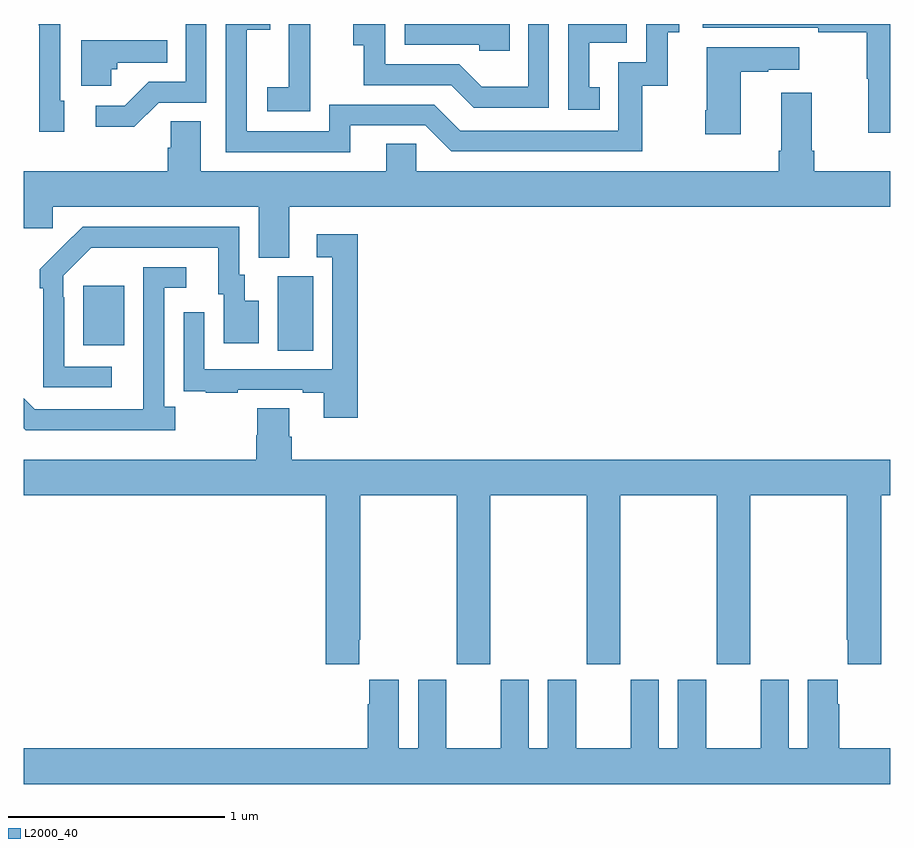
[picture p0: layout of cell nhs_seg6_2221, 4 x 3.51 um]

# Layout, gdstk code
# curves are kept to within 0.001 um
import gdstk
lib = gdstk.Library(unit=1e-6, precision=1e-09)
def R(c, l, rs):  # rectangles x0, y0, x1, y1
    for r in rs: c.add(gdstk.rectangle(r[:2], r[2:], *l))
def P(c, l, *ps):  # polygons
    for p in ps: c.add(gdstk.Polygon(p, *l))
L2000_40 = (2000, 40)

nhs_seg6_2221 = lib.new_cell('nhs_seg6_2221')
R(nhs_seg6_2221, L2000_40, [(244.172,959.992,244.336,960.336), (243.275,960.017,243.463,960.292)])
P(nhs_seg6_2221, L2000_40, [(244.507,961.032),(244.854,961.032),(244.974,960.912),(245.854,960.912),(245.854,961.215),(245.972,961.215),(245.972,961.461),(246.025,961.461),(246.025,961.5),(245.874,961.5),(245.874,961.323),(245.745,961.323),(245.745,961.008),(245.016,961.008),(244.896,961.128),(244.41,961.128),(244.41,961.005),(244.029,961.005),(244.029,961.474),(244.139,961.474),(244.139,961.5),(243.933,961.5),(243.933,960.909),(244.507,960.909)],
  [(243.624,961.137),(243.843,961.137),(243.843,961.5),(243.747,961.5),(243.747,961.233),(243.578,961.233),(243.467,961.122),(243.333,961.122),(243.333,961.025),(243.511,961.025)],
  [(245.66,961.209),(245.611,961.209),(245.611,961.413),(245.784,961.413),(245.784,961.5),(245.514,961.5),(245.514,961.104),(245.66,961.104)],
  [(247,961.5),(246.135,961.5),(246.135,961.482),(246.667,961.482),(246.667,961.462),(246.891,961.462),(246.891,961.248),(246.898,961.248),(246.898,960.999),(247,960.999)],
  [(245.424,961.5),(245.328,961.5),(245.328,961.21),(245.114,961.21),(245.01,961.314),(244.668,961.314),(244.668,961.5),(244.521,961.5),(244.521,961.403),(244.57,961.403),(244.57,961.218),(244.973,961.218),(245.078,961.113),(245.424,961.113)],
  [(245.243,961.5),(244.758,961.5),(244.758,961.404),(245.103,961.404),(245.103,961.377),(245.243,961.377)],
  [(244.323,961.303),(244.322,961.303),(244.322,961.5),(244.224,961.5),(244.224,961.436),(244.223,961.436),(244.223,961.207),(244.125,961.207),(244.125,961.097),(244.323,961.097)],
  [(243.187,961.146),(243.168,961.146),(243.168,961.5),(243.07,961.5),(243.07,961.495),(243.072,961.495),(243.072,961.002),(243.187,961.002)],
  [(243.405,961.29),(243.432,961.29),(243.432,961.322),(243.662,961.322),(243.662,961.426),(243.266,961.426),(243.266,961.214),(243.405,961.214)],
  [(246.31,961.279),(246.437,961.279),(246.437,961.289),(246.58,961.289),(246.58,961.393),(246.152,961.393),(246.152,961.102),(246.145,961.102),(246.145,960.99),(246.31,960.99)],
  [(244.225,960.656),(247,960.656),(247,960.82),(246.65,960.82),(246.65,960.916),(246.637,960.916),(246.637,961.183),(246.497,961.183),(246.497,960.916),(246.485,960.916),(246.485,960.82),(244.812,960.82),(244.812,960.947),(244.673,960.947),(244.673,960.82),(243.817,960.82),(243.817,961.052),(243.678,961.052),(243.678,960.929),(243.665,960.929),(243.665,960.82),(243,960.82),(243,960.558),(243.135,960.558),(243.135,960.656),(244.085,960.656),(244.085,960.421),(244.225,960.421)],
  [(243.406,959.919),(243.186,959.919),(243.186,960.239),(243.183,960.239),(243.183,960.339),(243.312,960.468),(243.899,960.468),(243.899,960.252),(243.923,960.252),(243.923,960.027),(244.084,960.027),(244.084,960.223),(244.021,960.223),(244.021,960.342),(243.996,960.342),(243.996,960.564),(243.272,960.564),(243.075,960.369),(243.075,960.281),(243.09,960.281),(243.09,959.823),(243.406,959.823)],
  [(244.541,960.529),(244.353,960.529),(244.353,960.423),(244.425,960.423),(244.425,959.907),(243.834,959.907),(243.834,960.169),(243.738,960.169),(243.738,959.914),(243.739,959.914),(243.739,959.805),(243.841,959.805),(243.841,959.799),(243.989,959.799),(243.989,959.811),(244.289,959.811),(244.289,959.799),(244.385,959.799),(244.385,959.682),(244.541,959.682)],
  [(243.7,959.734),(243.648,959.734),(243.648,960.282),(243.751,960.282),(243.751,960.378),(243.552,960.378),(243.551,959.721),(243.051,959.721),(243,959.772),(243,959.634),(243.01,959.624),(243.7,959.624)],
  [(244.549,958.657),(244.554,958.657),(244.554,959.324),(244.999,959.324),(244.999,958.545),(245.154,958.545),(245.154,959.324),(245.599,959.324),(245.599,958.545),(245.754,958.545),(245.754,959.324),(246.199,959.324),(246.199,958.545),(246.354,958.545),(246.354,959.324),(246.799,959.324),(246.799,958.657),(246.803,958.657),(246.803,958.545),(246.959,958.545),(246.959,959.324),(247,959.324),(247,959.488),(244.238,959.488),(244.238,959.594),(244.225,959.594),(244.225,959.726),(244.078,959.726),(244.078,959.601),(244.073,959.601),(244.073,959.488),(243,959.488),(243,959.324),(244.394,959.324),(244.394,958.545),(244.549,958.545)],
  [(247,958.156),(246.764,958.156),(246.764,958.361),(246.757,958.361),(246.757,958.474),(246.62,958.474),(246.62,958.156),(246.532,958.156),(246.532,958.474),(246.401,958.474),(246.401,958.156),(246.151,958.156),(246.151,958.474),(246.02,958.474),(246.02,958.156),(245.932,958.156),(245.932,958.474),(245.801,958.474),(245.801,958.156),(245.551,958.156),(245.551,958.474),(245.42,958.474),(245.42,958.156),(245.332,958.156),(245.332,958.474),(245.201,958.474),(245.201,958.156),(244.951,958.156),(244.951,958.474),(244.82,958.474),(244.82,958.156),(244.732,958.156),(244.732,958.474),(244.595,958.474),(244.595,958.361),(244.589,958.361),(244.589,958.156),(243,958.156),(243,957.992),(247,957.992)])

lib.write_gds('nhs_seg6_2221.gds')
